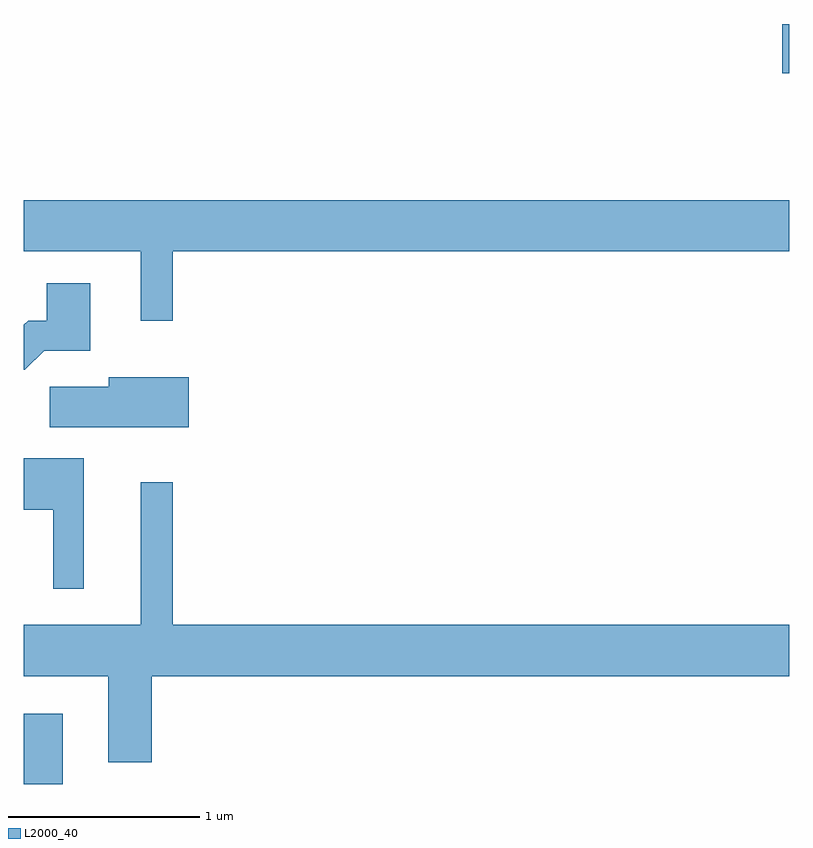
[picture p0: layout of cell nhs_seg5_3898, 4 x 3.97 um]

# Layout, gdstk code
import gdstk
lib = gdstk.Library(unit=1e-6, precision=1e-09)
def R(c, l, rs):  # rectangles x0, y0, x1, y1
    for r in rs: c.add(gdstk.rectangle(r[:2], r[2:], *l))
def P(c, l, *ps):  # polygons
    for p in ps: c.add(gdstk.Polygon(p, *l))
L2000_40 = (2000, 40)

nhs_seg5_3898 = lib.new_cell('nhs_seg5_3898')
R(nhs_seg5_3898, L2000_40, [(301.611,1394.072,301.814,1394.439), (305.576,1397.786,305.611,1398.044)])
P(nhs_seg5_3898, L2000_40, [(302.389,1396.856),(305.611,1396.856),(305.611,1397.124),(301.611,1397.124),(301.611,1396.856),(302.221,1396.856),(302.221,1396.493),(302.389,1396.493)],
  [(301.717,1396.336),(301.959,1396.336),(301.959,1396.689),(301.731,1396.689),(301.731,1396.494),(301.634,1396.494),(301.611,1396.471),(301.611,1396.236),(301.617,1396.236)],
  [(302.474,1396.199),(302.056,1396.199),(302.056,1396.149),(301.746,1396.149),(301.746,1395.936),(302.474,1395.936)],
  [(301.924,1395.774),(301.611,1395.774),(301.611,1395.506),(301.766,1395.506),(301.766,1395.093),(301.924,1395.093)],
  [(302.279,1394.636),(305.611,1394.636),(305.611,1394.904),(302.389,1394.904),(302.389,1395.648),(302.221,1395.648),(302.221,1394.904),(301.611,1394.904),(301.611,1394.636),(302.051,1394.636),(302.051,1394.186),(302.279,1394.186)])

lib.write_gds('nhs_seg5_3898.gds')
